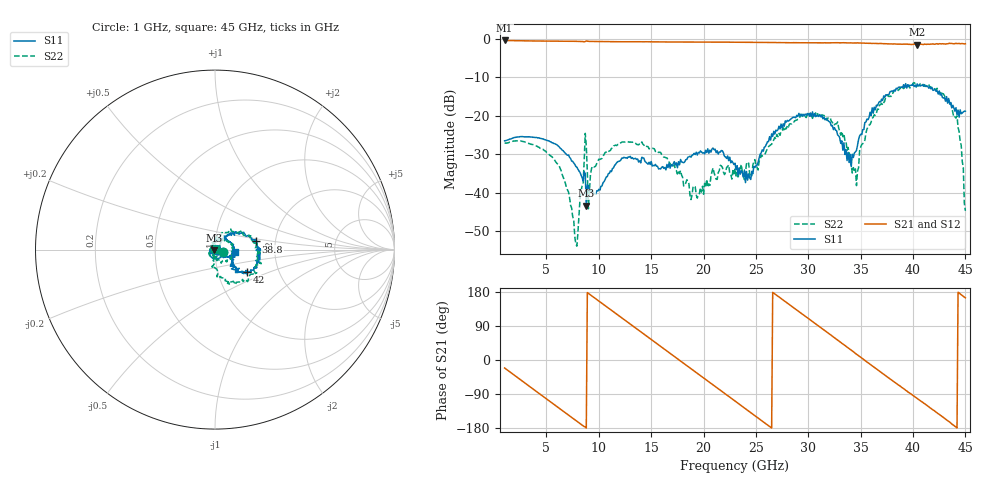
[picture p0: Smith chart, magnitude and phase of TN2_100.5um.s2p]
!Keysight Technologies,N5247B,MY61255062,A.19.80.06
!Date: Monday, May 18, 2026 12:19:47
!Correction: S11(Cdelta 2-Port  )
!S21(Cdelta 2-Port  )
!S12(Cdelta 2-Port  )
!S22(Cdelta 2-Port  )
!S2P File: Measurements: S11, S21, S12, S22:
# Hz S  dB  R 50
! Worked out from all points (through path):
!   441 points, 1 GHz to 45 GHz, reference 50 ohm
!   highest |S21| = -0.42 dB at 1 GHz (marker M1); lowest = -1.5 dB at 40.4 GHz (marker M2)
!   group delay of S21, straight-line fit = 56.4 ps
!   lowest |S11| = -43.4 dB at 8.8 GHz (marker M3), VSWR 1.01, Z = 49.5 - j0.487 ohm
!   |S11| at or under -10 dB: start of sweep to end of sweep
!   |S22| runs from -54.0 to -11.4 dB; largest |S21 - S12| = 0.016
!   S11 on the Smith chart (normalised r, x): 1 GHz: 1.09, -0.03; 38.8 GHz: 1.58, +0.15; 42 GHz: 1.38, -0.35; 45 GHz: 1.26, -0.03
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1e9  -26.55 -16.1  -0.42 -21.1  -0.41 -21.1  -27.03 -17.4
3.5e9  -25.57 -78.7  -0.54 -72.2  -0.54 -72.2  -27.41 -78.1
5.8e9  -27.29 -129.2  -0.61 -119.0  -0.61 -119.0  -31.67 -129.9
7.8e9  -33.20 -160.2  -0.64 -159.7  -0.64 -159.7  -53.41 -77.8
8.4e9  -36.14 -164.1  -0.67 -172.0  -0.68 -172.0  -38.32 -4.6
8.8e9  -43.40 -133.3  -0.54 -179.7  -0.54 -179.7  -27.88 43.6
9.1e9  -39.57 -154.9  -0.67 173.8  -0.67 173.8  -39.46 -53.8
1.25e10  -30.99 -131.3  -0.75 105.1  -0.76 105.0  -26.86 -103.1
1.57e10  -33.85 133.6  -0.78 39.9  -0.79 39.9  -29.50 -166.4
1.89e10  -30.29 10.9  -0.85 -24.9  -0.85 -24.9  -40.53 62.6
2.3e10  -32.36 -97.1  -0.87 -108.3  -0.87 -108.3  -33.72 -90.0
2.44e10  -36.14 177.6  -0.89 -136.8  -0.90 -136.9  -35.09 -138.9
2.66e10  -25.41 69.5  -0.96 178.5  -0.96 178.4  -26.81 84.5
3.04e10  -19.00 -5.7  -1.03 101.5  -1.03 101.5  -20.70 -6.3
3.28e10  -25.00 -44.2  -1.00 52.8  -1.03 52.6  -21.63 -65.1
3.46e10  -29.05 45.4  -1.07 15.4  -1.06 15.6  -38.21 164.5
3.77e10  -14.53 23.1  -1.31 -48.0  -1.31 -47.6  -15.01 35.1
3.88e10  -12.66 11.2  -1.37 -69.4  -1.37 -69.6  -12.65 8.3
4.04e10  -11.72 -16.1  -1.48 -101.5  -1.44 -101.3  -12.25 -20.4
4.2e10  -13.34 -34.6  -1.38 -133.2  -1.40 -133.2  -12.95 -53.1
4.42e10  -19.79 -25.8  -1.23 -179.4  -1.26 -178.9  -20.05 -99.2
4.5e10  -18.82 -5.9  -1.27 164.0  -1.34 163.7  -44.77 33.0
